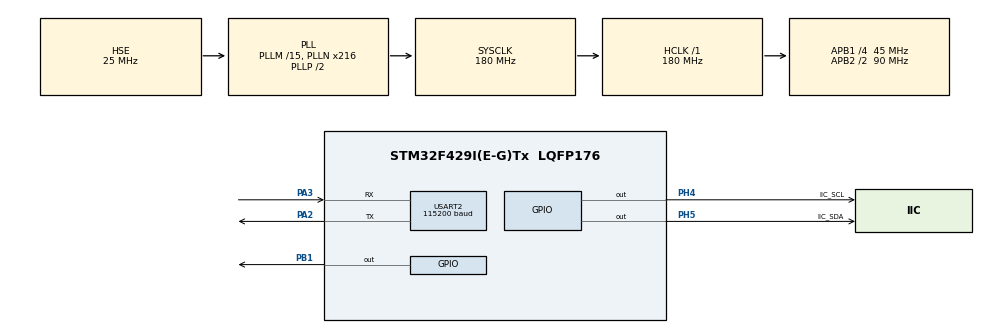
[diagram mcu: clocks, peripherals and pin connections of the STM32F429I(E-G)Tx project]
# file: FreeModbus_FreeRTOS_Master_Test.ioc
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FREERTOS.Tasks01=defaultTask,24,128,StartDefaultTask,Default,NULL,Dynamic,NULL,NULL
Mcu.Family=STM32F4
Mcu.Name=STM32F429I(E-G)Tx
Mcu.Package=LQFP176
NVIC.PriorityGroup=NVIC_PRIORITYGROUP_4
NVIC.TIM2_IRQn=true\:6\:0\:true\:false\:true\:true\:true\:true\:true
NVIC.TIM8_TRG_COM_TIM14_IRQn=true\:15\:0\:false\:false\:true\:false\:false\:true\:true
NVIC.TimeBase=TIM8_TRG_COM_TIM14_IRQn
NVIC.TimeBaseIP=TIM14
NVIC.USART2_IRQn=true\:5\:0\:true\:false\:true\:true\:true\:true\:true
PA13.Mode=Serial_Wire
PA13.Signal=SYS_JTMS-SWDIO
PA14.Mode=Serial_Wire
PA14.Signal=SYS_JTCK-SWCLK
PA2.Mode=Asynchronous
PA2.Signal=USART2_TX
PA3.Mode=Asynchronous
PA3.Signal=USART2_RX
PB1.Signal=GPIO_Output
PH0/OSC_IN.Mode=HSE-External-Oscillator
PH0/OSC_IN.Signal=RCC_OSC_IN
PH1/OSC_OUT.Mode=HSE-External-Oscillator
PH1/OSC_OUT.Signal=RCC_OSC_OUT
PH4.GPIO_Label=IIC_SCL
PH4.GPIO_ModeDefaultOutputPP=GPIO_MODE_OUTPUT_OD
PH4.GPIO_PuPd=GPIO_NOPULL
PH4.GPIO_Speed=GPIO_SPEED_FREQ_HIGH
PH4.Signal=GPIO_Output
PH5.GPIO_Label=IIC_SDA
PH5.GPIO_ModeDefaultOutputPP=GPIO_MODE_OUTPUT_OD
PH5.GPIO_PuPd=GPIO_NOPULL
PH5.GPIO_Speed=GPIO_SPEED_FREQ_HIGH
PH5.Signal=GPIO_Output
ProjectManager.HeapSize=0x200
ProjectManager.StackSize=0x400
ProjectManager.TargetToolchain=Makefile
RCC.48MHZClocksFreq_Value=90000000
RCC.AHBFreq_Value=180000000
RCC.APB1CLKDivider=RCC_HCLK_DIV4
RCC.APB1Freq_Value=45000000
RCC.APB1TimFreq_Value=90000000
RCC.APB2CLKDivider=RCC_HCLK_DIV2
RCC.APB2Freq_Value=90000000
RCC.APB2TimFreq_Value=180000000
RCC.CortexFreq_Value=180000000
RCC.HCLKFreq_Value=180000000
RCC.HSE_VALUE=25000000
RCC.HSI_VALUE=16000000
RCC.LSE_VALUE=32768
RCC.PLLM=15
RCC.PLLN=216
RCC.PLLSourceVirtual=RCC_PLLSOURCE_HSE
RCC.SYSCLKFreq_VALUE=180000000
RCC.SYSCLKSource=RCC_SYSCLKSOURCE_PLLCLK
RCC.VCOOutputFreq_Value=360000000
TIM2.Prescaler=4500-1
USART2.BaudRate=115200
USART2.VirtualMode=VM_ASYNC
VP_FREERTOS_VS_CMSIS_V2.Mode=CMSIS_V2
VP_SYS_VS_tim14.Mode=TIM14
VP_TIM2_VS_ClockSourceINT.Mode=Internal
board=custom

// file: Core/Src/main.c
/* USER CODE BEGIN Header */
/**
  ******************************************************************************
  * @file           : main.c
  * @brief          : Main program body
  ******************************************************************************
  * @attention
  *
  * Copyright (c) 2025 STMicroelectronics.
  * All rights reserved.
  *
  * This software is licensed under terms that can be found in the LICENSE file
  * in the root directory of this software component.
  * If no LICENSE file comes with this software, it is provided AS-IS.
  *
  ******************************************************************************
  */
/* USER CODE END Header */
#include "main.h"
#include "cmsis_os.h"
#include "tim.h"
#include "usart.h"
#include "gpio.h"

/* USER CODE BEGIN Includes */
#include "rs485.h"
/* USER CODE END Includes */

void SystemClock_Config(void);
void MX_FREERTOS_Init(void);

int main(void)
{

  /* MCU Configuration--------------------------------------------------------*/

  /* Reset of all peripherals, Initializes the Flash interface and the Systick. */
  HAL_Init();

  /* Configure the system clock */
  SystemClock_Config();

  /* Initialize all configured peripherals */
  MX_GPIO_Init();
  MX_USART2_UART_Init();
  MX_TIM2_Init();
  /* USER CODE BEGIN 2 */
  PCF8574_Init();
  /* USER CODE END 2 */

  /* Init scheduler */
  osKernelInitialize();

  /* Call init function for freertos objects (in cmsis_os2.c) */
  MX_FREERTOS_Init();

  /* Start scheduler */
  osKernelStart();

  /* We should never get here as control is now taken by the scheduler */

  /* Infinite loop */
  while (1)
  {

  }
}

void SystemClock_Config(void)
{
  RCC_OscInitTypeDef RCC_OscInitStruct = {0};
  RCC_ClkInitTypeDef RCC_ClkInitStruct = {0};

  /** Configure the main internal regulator output voltage
  */
  __HAL_RCC_PWR_CLK_ENABLE();
  __HAL_PWR_VOLTAGESCALING_CONFIG(PWR_REGULATOR_VOLTAGE_SCALE1);

  /** Initializes the RCC Oscillators according to the specified parameters
  * in the RCC_OscInitTypeDef structure.
  */
  RCC_OscInitStruct.OscillatorType = RCC_OSCILLATORTYPE_HSE;
  RCC_OscInitStruct.HSEState = RCC_HSE_ON;
  RCC_OscInitStruct.PLL.PLLState = RCC_PLL_ON;
  RCC_OscInitStruct.PLL.PLLSource = RCC_PLLSOURCE_HSE;
  RCC_OscInitStruct.PLL.PLLM = 15;
  RCC_OscInitStruct.PLL.PLLN = 216;
  RCC_OscInitStruct.PLL.PLLP = RCC_PLLP_DIV2;
  RCC_OscInitStruct.PLL.PLLQ = 4;
  if (HAL_RCC_OscConfig(&RCC_OscInitStruct) != HAL_OK)
  {
    Error_Handler();
  }

  /** Activate the Over-Drive mode
  */
  if (HAL_PWREx_EnableOverDrive() != HAL_OK)
  {
    Error_Handler();
  }

  /** Initializes the CPU, AHB and APB buses clocks
  */
  RCC_ClkInitStruct.ClockType = RCC_CLOCKTYPE_HCLK|RCC_CLOCKTYPE_SYSCLK
                              |RCC_CLOCKTYPE_PCLK1|RCC_CLOCKTYPE_PCLK2;
  RCC_ClkInitStruct.SYSCLKSource = RCC_SYSCLKSOURCE_PLLCLK;
  RCC_ClkInitStruct.AHBCLKDivider = RCC_SYSCLK_DIV1;
  RCC_ClkInitStruct.APB1CLKDivider = RCC_HCLK_DIV4;
  RCC_ClkInitStruct.APB2CLKDivider = RCC_HCLK_DIV2;

  if (HAL_RCC_ClockConfig(&RCC_ClkInitStruct, FLASH_LATENCY_5) != HAL_OK)
  {
    Error_Handler();
  }
}

void HAL_TIM_PeriodElapsedCallback(TIM_HandleTypeDef *htim)
{
  if (htim->Instance == TIM14) {
    HAL_IncTick();
  }
}

void Error_Handler(void)
{
  __disable_irq();
  while (1)
  {
  }
}

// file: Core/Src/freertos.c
/* USER CODE BEGIN Header */
/**
 ******************************************************************************
 * File Name          : freertos.c
 * Description        : Code for freertos applications
 ******************************************************************************
 * @attention
 *
 * Copyright (c) 2025 STMicroelectronics.
 * All rights reserved.
 *
 * This software is licensed under terms that can be found in the LICENSE file
 * in the root directory of this software component.
 * If no LICENSE file comes with this software, it is provided AS-IS.
 *
 ******************************************************************************
 */
/* USER CODE END Header */

#include "FreeRTOS.h"
#include "task.h"
#include "main.h"
#include "cmsis_os.h"

/* USER CODE BEGIN Includes */
#include "freemodbus_app.h"
/* USER CODE END Includes */

/* USER CODE BEGIN Variables */
osThreadId_t MasterTaskHandle;
const osThreadAttr_t MasterTask_attributes = {
    .name       = "MasterTask",
    .priority   = (osPriority_t)osPriorityNormal,
    .stack_size = 128 * 4};
osThreadId_t SlaveTaskHandle;
const osThreadAttr_t SlaveTask_attributes = {
    .name       = "SlaveTask",
    .priority   = (osPriority_t)osPriorityNormal,
    .stack_size = 128 * 4};
/* USER CODE END Variables */
/* Definitions for defaultTask */
osThreadId_t defaultTaskHandle;
const osThreadAttr_t defaultTask_attributes = {
  .name = "defaultTask",
  .stack_size = 128 * 4,
  .priority = (osPriority_t) osPriorityNormal,
};

/* USER CODE BEGIN FunctionPrototypes */
void MasterTask(void *argument);
void SlaveTask(void *argument);
/* USER CODE END FunctionPrototypes */

void StartDefaultTask(void *argument);

void MX_FREERTOS_Init(void); /* (MISRA C 2004 rule 8.1) */

void MX_FREERTOS_Init(void) {
  /* USER CODE BEGIN Init */

    // eMBInit(MB_RTU, 0x01, 2, 115200, MB_PAR_NONE);
    // eMBEnable();
  /* USER CODE END Init */

  /* Create the thread(s) */
  /* creation of defaultTask */
  defaultTaskHandle = osThreadNew(StartDefaultTask, NULL, &defaultTask_attributes);

}

void StartDefaultTask(void *argument)
{
  /* USER CODE BEGIN StartDefaultTask */
    uint16_t data[10] = {1, 2, 3, 4, 5, 6, 7, 8, 9, 10};
    eMBMasterInit(MB_RTU, 2, 9600, MB_PAR_NONE);
    eMBMasterEnable();
    MasterTaskHandle = osThreadNew(MasterTask, NULL, &MasterTask_attributes);
    // SlaveTaskHandle  = osThreadNew(SlaveTask, NULL, &SlaveTask_attributes);
    /* Infinite loop */
    for (;;) {
        eMBMasterReqWriteMultipleHoldingRegister(1, 0, 10, data, portMAX_DELAY);
        for (uint8_t i = 0; i < sizeof(data) / sizeof(uint16_t); i++)
            data[i]++;
        HAL_GPIO_TogglePin(GPIOB, GPIO_PIN_1);
        osDelay(100);
    }
  /* USER CODE END StartDefaultTask */
}

/* USER CODE BEGIN Application */
void MasterTask(void *argument)
{
    for (;;) {
        eMBMasterPoll();
        osDelay(1);
    }
}

void SlaveTask(void *argument)
{
    for (;;) {
        // eMBPoll();
        osDelay(1);
    }
}
/* USER CODE END Application */
